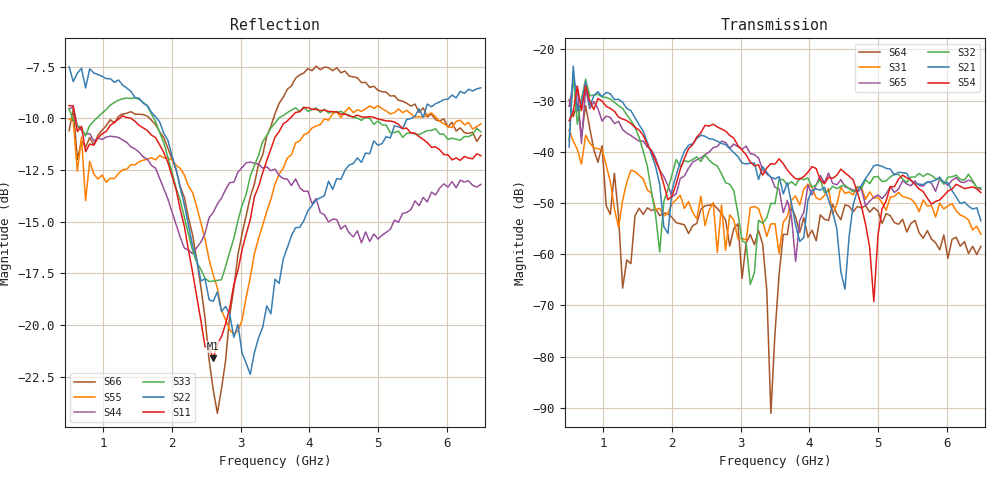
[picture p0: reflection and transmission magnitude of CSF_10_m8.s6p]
!Keysight Technologies,M9804A,MY58100912,A.14.10.03
!Date: Thursday, April 27, 2023 10:28:33
!Correction: S11(C  6-Port  )
!S12(C  6-Port  )
!S13(C  6-Port  )
!S14(C  6-Port  )
!S15(C  6-Port  )
!S16(C  6-Port  )
!S21(C  6-Port  )
!S22(C  6-Port  )
!S23(C  6-Port  )
!S24(C  6-Port  )
!S25(C  6-Port  )
!S26(C  6-Port  )
!S31(C  6-Port  )
!S32(C  6-Port  )
!S33(C  6-Port  )
!S34(C  6-Port  )
!S35(C  6-Port  )
!S36(C  6-Port  )
!S41(C  6-Port  )
!S42(C  6-Port  )
!S43(C  6-Port  )
!S44(C  6-Port  )
!S45(C  6-Port  )
!S46(C  6-Port  )
!S51(C  6-Port  )
!S52(C  6-Port  )
!S53(C  6-Port  )
!S54(C  6-Port  )
!S55(C  6-Port  )
!S56(C  6-Port  )
!S61(C  6-Port  )
!S62(C  6-Port  )
!S63(C  6-Port  )
!S64(C  6-Port  )
!S65(C  6-Port  )
!S66(C  6-Port  )
!S6P File: Measurement: :
# Hz S  RI  R 50
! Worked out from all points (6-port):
!   101 points, 500 MHz to 6.5 GHz, reference 50 ohm
!   strongest paths, dB at 500 MHz, 2 GHz, 3.5 GHz, 5 GHz, 6.5 GHz:
!     S54: -33.9, -48.6, -42.4, -56.3, -48.0
!     S21: -39.0, -47.4, -45.3, -42.6, -53.5
!     S32: -37.8, -44.4, -50.1, -44.8, -47.0
!     S65: -31.1, -48.8, -46.9, -48.4, -47.3
!     S31: -35.8, -50.1, -54.0, -48.9, -56.1
!     S64: -29.8, -52.8, -75.4, -51.5, -58.4
!   lowest |S11| = -21.6 dB at 2.6 GHz (marker M1), VSWR 1.18, Z = 42.6 + j2.06 ohm
!   |S11| at or under -10 dB: 589.1 MHz to 1.235 GHz (645.8 MHz wide, 70.8 % of centre); 1.402 GHz to 3.719 GHz (2.317 GHz wide, 90.5 % of centre); 4.974 GHz to end of sweep
